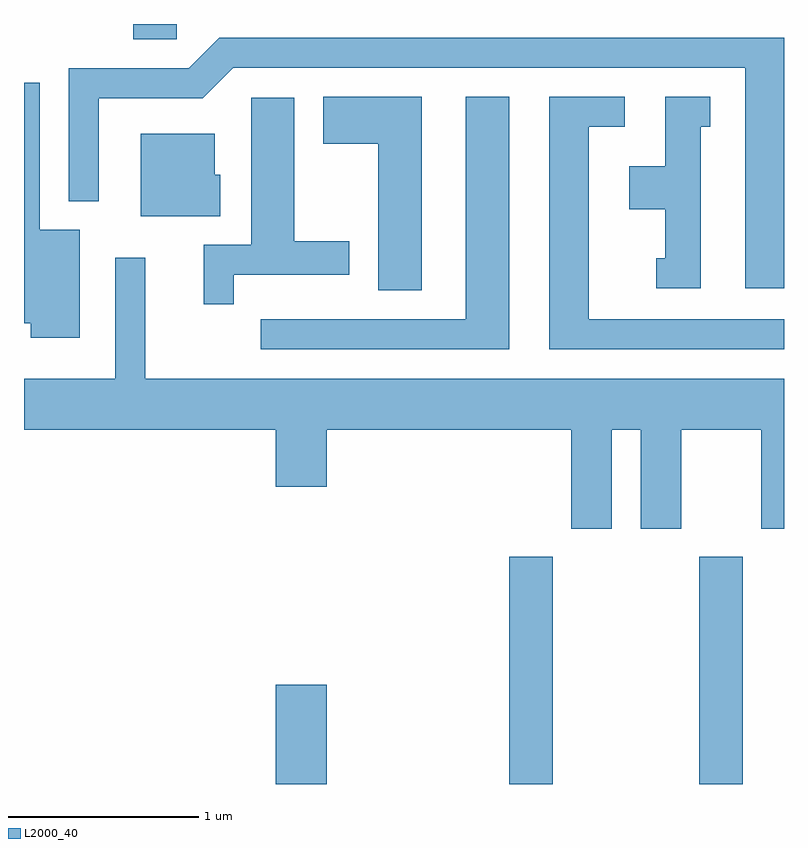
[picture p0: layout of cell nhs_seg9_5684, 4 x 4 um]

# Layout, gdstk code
import gdstk
lib = gdstk.Library(unit=1e-6, precision=1e-09)
def R(c, l, rs):  # rectangles x0, y0, x1, y1
    for r in rs: c.add(gdstk.rectangle(r[:2], r[2:], *l))
def P(c, l, *ps):  # polygons
    for p in ps: c.add(gdstk.Polygon(p, *l))
L2000_40 = (2000, 40)

nhs_seg9_5684 = lib.new_cell('nhs_seg9_5684')
R(nhs_seg9_5684, L2000_40, [(354.936,1954.432,355.204,1954.954), (356.166,1954.432,356.394,1955.629), (357.166,1954.432,357.394,1955.629), (354.186,1958.351,354.414,1958.432)])
P(nhs_seg9_5684, L2000_40, [(357.611,1958.359),(354.639,1958.359),(354.479,1958.199),(353.846,1958.199),(353.846,1957.498),(354.004,1957.498),(354.004,1958.041),(354.552,1958.041),(354.712,1958.201),(357.406,1958.201),(357.406,1957.041),(357.611,1957.041)],
  [(353.904,1957.349),(353.694,1957.349),(353.694,1958.123),(353.611,1958.123),(353.611,1956.856),(353.646,1956.856),(353.646,1956.781),(353.904,1956.781)],
  [(357.174,1957.891),(357.223,1957.891),(357.223,1958.049),(356.986,1958.049),(356.986,1957.684),(356.796,1957.684),(356.796,1957.456),(356.986,1957.456),(356.986,1957.199),(356.938,1957.199),(356.938,1957.041),(357.174,1957.041)],
  [(355.704,1958.049),(355.186,1958.049),(355.186,1957.801),(355.476,1957.801),(355.476,1957.031),(355.704,1957.031)],
  [(357.611,1956.879),(356.584,1956.879),(356.584,1957.891),(356.773,1957.891),(356.773,1958.049),(356.376,1958.049),(356.376,1956.721),(357.611,1956.721)],
  [(356.164,1958.049),(355.936,1958.049),(355.936,1956.879),(354.858,1956.879),(354.858,1956.721),(356.164,1956.721)],
  [(354.714,1957.111),(355.324,1957.111),(355.324,1957.289),(355.034,1957.289),(355.034,1958.044),(354.806,1958.044),(354.806,1957.269),(354.556,1957.269),(354.556,1956.958),(354.714,1956.958)],
  [(354.644,1957.639),(354.614,1957.639),(354.614,1957.854),(354.226,1957.854),(354.226,1957.421),(354.644,1957.421)],
  [(356.704,1956.296),(356.856,1956.296),(356.856,1955.776),(357.069,1955.776),(357.069,1956.296),(357.491,1956.296),(357.491,1955.776),(357.611,1955.776),(357.611,1956.564),(354.249,1956.564),(354.249,1957.203),(354.091,1957.203),(354.091,1956.564),(353.611,1956.564),(353.611,1956.296),(354.936,1956.296),(354.936,1955.996),(355.204,1955.996),(355.204,1956.296),(356.491,1956.296),(356.491,1955.776),(356.704,1955.776)])

lib.write_gds('nhs_seg9_5684.gds')
